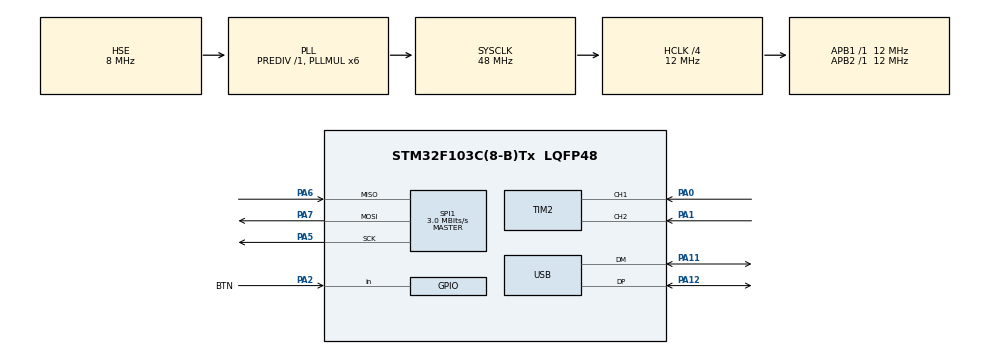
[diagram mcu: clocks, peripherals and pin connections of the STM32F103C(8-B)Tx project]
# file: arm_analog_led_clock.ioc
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Mcu.Family=STM32F1
Mcu.Name=STM32F103C(8-B)Tx
Mcu.Package=LQFP48
NVIC.PriorityGroup=NVIC_PRIORITYGROUP_4
NVIC.USB_LP_CAN1_RX0_IRQn=true\:0\:0\:false\:false\:true\:true\:true
PA0-WKUP.Signal=S_TIM2_CH1_ETR
PA1.Signal=S_TIM2_CH2
PA11.Mode=Device
PA11.Signal=USB_DM
PA12.Mode=Device
PA12.Signal=USB_DP
PA13.Mode=Serial_Wire
PA13.Signal=SYS_JTMS-SWDIO
PA14.Mode=Serial_Wire
PA14.Signal=SYS_JTCK-SWCLK
PA2.GPIO_Label=BTN
PA2.GPIO_PuPd=GPIO_PULLUP
PA2.Signal=GPIO_Input
PA5.Mode=Full_Duplex_Master
PA5.Signal=SPI1_SCK
PA6.Mode=Full_Duplex_Master
PA6.Signal=SPI1_MISO
PA7.Mode=Full_Duplex_Master
PA7.Signal=SPI1_MOSI
PC14-OSC32_IN.Mode=LSE-External-Oscillator
PC14-OSC32_IN.Signal=RCC_OSC32_IN
PC15-OSC32_OUT.Mode=LSE-External-Oscillator
PC15-OSC32_OUT.Signal=RCC_OSC32_OUT
PD0-OSC_IN.Mode=HSE-External-Oscillator
PD0-OSC_IN.Signal=RCC_OSC_IN
PD1-OSC_OUT.Mode=HSE-External-Oscillator
PD1-OSC_OUT.Signal=RCC_OSC_OUT
ProjectManager.HeapSize=0x200
ProjectManager.StackSize=0x400
ProjectManager.TargetToolchain=STM32CubeIDE
RCC.AHBCLKDivider=RCC_SYSCLK_DIV4
RCC.AHBFreq_Value=12000000
RCC.APB1Freq_Value=12000000
RCC.APB1TimFreq_Value=12000000
RCC.APB2Freq_Value=12000000
RCC.APB2TimFreq_Value=12000000
RCC.HCLKFreq_Value=12000000
RCC.PLLMUL=RCC_PLL_MUL6
RCC.PLLSourceVirtual=RCC_PLLSOURCE_HSE
RCC.SYSCLKFreq_VALUE=48000000
RCC.SYSCLKSource=RCC_SYSCLKSOURCE_PLLCLK
RCC.USBFreq_Value=48000000
RTC.Date=11
RTC.Hours=10
RTC.Minutes=20
RTC.Month=RTC_MONTH_NOVEMBER
RTC.Seconds=30
RTC.WeekDay=RTC_WEEKDAY_WEDNESDAY
SH.S_TIM2_CH1_ETR.0=TIM2_CH1,Encoder_Interface
SH.S_TIM2_CH2.0=TIM2_CH2,Encoder_Interface
SPI1.BaudRatePrescaler=SPI_BAUDRATEPRESCALER_4
SPI1.CalculateBaudRate=3.0 MBits/s
SPI1.DataSize=SPI_DATASIZE_8BIT
SPI1.Direction=SPI_DIRECTION_2LINES
SPI1.Mode=SPI_MODE_MASTER
SPI1.VirtualType=VM_MASTER
USB_DEVICE.CLASS_NAME_FS=CDC
USB_DEVICE.VirtualMode=Cdc
USB_DEVICE.VirtualModeFS=Cdc_FS
VP_RTC_VS_RTC_Activate.Mode=RTC_Enabled
VP_RTC_VS_RTC_Calendar.Mode=RTC_Calendar
VP_USB_DEVICE_VS_USB_DEVICE_CDC_FS.Mode=CDC_FS
board=custom

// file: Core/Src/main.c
/* USER CODE BEGIN Header */
/**
 ******************************************************************************
 * @file           : main.c
 * @brief          : Main program body
 ******************************************************************************
 * @attention
 *
 * <h2><center>&copy; Copyright (c) 2020 STMicroelectronics.
 * All rights reserved.</center></h2>
 *
 * This software component is licensed by ST under BSD 3-Clause license,
 * the "License"; You may not use this file except in compliance with the
 * License. You may obtain a copy of the License at:
 *                        opensource.org/licenses/BSD-3-Clause
 *
 ******************************************************************************
 */
/* USER CODE END Header */
#include "main.h"
#include "usb_device.h"

/* USER CODE BEGIN PD */
#define COLOR_SIZE 24
#define ALL_GRB_SIZE 288
#define RESET_SIZE 50

const uint8_t HOUR_COLOR[COLOR_SIZE] = {0x1,0x1,0x1,0x1,0x1,0x1,0xC,0xC, /*||*/ 0xC,0xC,0xC,0xC,0xC,0xC,0xC,0xC, /*||*/ 0x1,0x1,0x1,0x1,0xC,0xC,0xC,0xC};
const uint8_t MIN_COLOR[COLOR_SIZE] =  {0x1,0x1,0x1,0x1,0xC,0xC,0xC,0xC, /*||*/ 0x1,0x1,0x1,0x1,0xC,0xC,0xC,0xC, /*||*/ 0x1,0x1,0x1,0x1,0xC,0xC,0xC,0xC};
const uint8_t SEC_COLOR[COLOR_SIZE] =  {0x1,0x1,0x1,0x1,0x1,0x1,0xC,0xC, /*||*/ 0x1,0x1,0x1,0x1,0xC,0xC,0xC,0xC, /*||*/ 0xC,0xC,0x1,0x1,0x1,0x1,0xC,0xC};
/* USER CODE END PD */

RTC_HandleTypeDef hrtc;

SPI_HandleTypeDef hspi1;

TIM_HandleTypeDef htim2;

/* USER CODE BEGIN PV */
volatile uint32_t last_button = 0;
uint8_t time_set_mode = 3;
RTC_TimeTypeDef current_time;
uint8_t all_grb_leds[ALL_GRB_SIZE] = {0xC};
uint8_t reset[RESET_SIZE] = {0xC};
/* USER CODE END PV */

void SystemClock_Config(void);
static void MX_GPIO_Init(void);
static void MX_TIM2_Init(void);
static void MX_RTC_Init(void);
static void MX_SPI1_Init(void);

/* USER CODE BEGIN 0 */
void set_time() {
	RTC_TimeTypeDef sTime = {0};
	RTC_DateTypeDef DateToUpdate = {0};
	/** Initialize RTC and set the Time and Date
	*/
	sTime.Hours = 0x10;
	sTime.Minutes = 0x20;
	sTime.Seconds = 0x30;

	if (HAL_RTC_SetTime(&hrtc, &sTime, RTC_FORMAT_BCD) != HAL_OK)
	{
	Error_Handler();
	}
	DateToUpdate.WeekDay = RTC_WEEKDAY_WEDNESDAY;
	DateToUpdate.Month = RTC_MONTH_NOVEMBER;
	DateToUpdate.Date = 0x11;
	DateToUpdate.Year = 0x0;

	if (HAL_RTC_SetDate(&hrtc, &DateToUpdate, RTC_FORMAT_BCD) != HAL_OK)
	{
	Error_Handler();
	}
	/* USER CODE BEGIN RTC_Init 2 */
	HAL_RTCEx_BKUPWrite(&hrtc, RTC_BKP_DR1, 0x32F2); // saves time to backup register
	/* USER CODE END RTC_Init 2 */
}

void time_backup_check() {
	if (HAL_RTCEx_BKUPRead(&hrtc, RTC_BKP_DR1) != 0x32F2) {
	  set_time();
	}
}

uint8_t is_btn_pressed() { // for dealing with the bounce effect
	uint8_t returnValue = 0;
	uint8_t buttonState = HAL_GPIO_ReadPin(BTN_GPIO_Port, BTN_Pin);
	if (last_button == 0 && buttonState == 1) {
		returnValue = 1;
	}
	last_button = buttonState;
	return returnValue;

}

void onpress_change_time_set_mode() {
	if (is_btn_pressed()) {
		time_set_mode++;
		if (time_set_mode > 3) {
			time_set_mode = 0;
		}
		switch (time_set_mode) {
			case CLOCK_CHANGE_HOUR:
				TIM2->CNT = current_time.Hours << 2;
				break;
			case CLOCK_CHANGE_MIN:
				TIM2->CNT = current_time.Minutes << 2;
				break;
			case CLOCK_CHANGE_SEC:
				TIM2->CNT = current_time.Seconds << 2;
				break;
		}
	}
}

void handle_time_change() {
	RTC_TimeTypeDef new_time;
	switch (time_set_mode) {
		case CLOCK_CHANGE_HOUR:
			time_backup_check();
			HAL_RTC_GetTime(&hrtc, &new_time, RTC_FORMAT_BIN);
			new_time.Hours = ((TIM2->CNT)>>2) % 24;
			HAL_RTC_SetTime(&hrtc, &new_time, RTC_FORMAT_BIN);
			break;
		case CLOCK_CHANGE_MIN:
			time_backup_check();
			HAL_RTC_GetTime(&hrtc, &new_time, RTC_FORMAT_BIN);
			new_time.Minutes = ((TIM2->CNT)>>2) % 60;
			HAL_RTC_SetTime(&hrtc, &new_time, RTC_FORMAT_BIN);
			break;
		case CLOCK_CHANGE_SEC:
			time_backup_check();
			HAL_RTC_GetTime(&hrtc, &new_time, RTC_FORMAT_BIN);
			new_time.Seconds = ((TIM2->CNT)>>2) % 60;
			HAL_RTC_SetTime(&hrtc, &new_time, RTC_FORMAT_BIN);
			break;
	}
}

void set_grb_by_time() {
	uint8_t hour_led_index = current_time.Hours % 12;
	uint8_t min_led_index = (uint8_t) current_time.Minutes / 5;
	uint8_t sec_led_index = (uint8_t) current_time.Seconds / 5;

	for (int i = 0; i < ALL_GRB_SIZE; i++) { // reset leds by setting every bit to 1, black
		all_grb_leds[i] = 0x1;
	}
	for (int i = 0; i < COLOR_SIZE; i++) {
		all_grb_leds[hour_led_index * COLOR_SIZE + i] = HOUR_COLOR[i];
		all_grb_leds[min_led_index * COLOR_SIZE + i] = MIN_COLOR[i];
		all_grb_leds[sec_led_index * COLOR_SIZE + i] = SEC_COLOR[i];
	}
}

void handle_led_changes() {
	HAL_SPI_Transmit(&hspi1, all_grb_leds, sizeof(all_grb_leds), 10);
	HAL_SPI_Transmit(&hspi1, reset, sizeof(reset), 10);
}
/* USER CODE END 0 */

int main(void)
{
  /* USER CODE BEGIN 1 */
	char *outBufferUSB[512] = {0};
	uint16_t outBufferUSBSize = 0;
  /* USER CODE END 1 */

  /* MCU Configuration--------------------------------------------------------*/

  /* Reset of all peripherals, Initializes the Flash interface and the Systick. */
  HAL_Init();

  /* Configure the system clock */
  SystemClock_Config();

  /* Initialize all configured peripherals */
  MX_GPIO_Init();
  MX_USB_DEVICE_Init();
  MX_TIM2_Init();
  MX_RTC_Init();
  MX_SPI1_Init();
  /* USER CODE BEGIN 2 */
  time_backup_check(); // restores time from backup register
  HAL_TIM_Encoder_Start(&htim2, TIM_CHANNEL_ALL);
  /* USER CODE END 2 */

  /* Infinite loop */
  /* USER CODE BEGIN WHILE */
	while (1) {
	  HAL_RTC_GetTime(&hrtc, &current_time, RTC_FORMAT_BIN); // gets current time to display
	  onpress_change_time_set_mode(); // checks for button press and increments change_time_mod variable
	  handle_time_change(); // handles time change with the encoder
	  set_grb_by_time(); // sets grb array by the current time
	  handle_led_changes(); // supposed to change one leds color for now

	  outBufferUSBSize = sprintf(outBufferUSB, "time_set_mode: %d, encoder_value: %d, time: %02d:%02d:%02d% \n\r",
	  			  time_set_mode, ((TIM2->CNT)>>2), current_time.Hours, current_time.Minutes, current_time.Seconds);
	  CDC_Transmit_FS(outBufferUSB, outBufferUSBSize);
    /* USER CODE END WHILE */

	}
}

void SystemClock_Config(void)
{
  RCC_OscInitTypeDef RCC_OscInitStruct = {0};
  RCC_ClkInitTypeDef RCC_ClkInitStruct = {0};
  RCC_PeriphCLKInitTypeDef PeriphClkInit = {0};

  /** Initializes the RCC Oscillators according to the specified parameters
  * in the RCC_OscInitTypeDef structure.
  */
  RCC_OscInitStruct.OscillatorType = RCC_OSCILLATORTYPE_LSI|RCC_OSCILLATORTYPE_HSE;
  RCC_OscInitStruct.HSEState = RCC_HSE_ON;
  RCC_OscInitStruct.HSEPredivValue = RCC_HSE_PREDIV_DIV1;
  RCC_OscInitStruct.HSIState = RCC_HSI_ON;
  RCC_OscInitStruct.LSIState = RCC_LSI_ON;
  RCC_OscInitStruct.PLL.PLLState = RCC_PLL_ON;
  RCC_OscInitStruct.PLL.PLLSource = RCC_PLLSOURCE_HSE;
  RCC_OscInitStruct.PLL.PLLMUL = RCC_PLL_MUL6;
  if (HAL_RCC_OscConfig(&RCC_OscInitStruct) != HAL_OK)
  {
    Error_Handler();
  }
  /** Initializes the CPU, AHB and APB buses clocks
  */
  RCC_ClkInitStruct.ClockType = RCC_CLOCKTYPE_HCLK|RCC_CLOCKTYPE_SYSCLK
                              |RCC_CLOCKTYPE_PCLK1|RCC_CLOCKTYPE_PCLK2;
  RCC_ClkInitStruct.SYSCLKSource = RCC_SYSCLKSOURCE_PLLCLK;
  RCC_ClkInitStruct.AHBCLKDivider = RCC_SYSCLK_DIV4;
  RCC_ClkInitStruct.APB1CLKDivider = RCC_HCLK_DIV1;
  RCC_ClkInitStruct.APB2CLKDivider = RCC_HCLK_DIV1;

  if (HAL_RCC_ClockConfig(&RCC_ClkInitStruct, FLASH_LATENCY_1) != HAL_OK)
  {
    Error_Handler();
  }
  PeriphClkInit.PeriphClockSelection = RCC_PERIPHCLK_RTC|RCC_PERIPHCLK_USB;
  PeriphClkInit.RTCClockSelection = RCC_RTCCLKSOURCE_LSI;
  PeriphClkInit.UsbClockSelection = RCC_USBCLKSOURCE_PLL;
  if (HAL_RCCEx_PeriphCLKConfig(&PeriphClkInit) != HAL_OK)
  {
    Error_Handler();
  }
}

static void MX_RTC_Init(void)
{

  RTC_TimeTypeDef sTime = {0};
  RTC_DateTypeDef DateToUpdate = {0};

  /** Initialize RTC Only
  */
  hrtc.Instance = RTC;
  hrtc.Init.AsynchPrediv = RTC_AUTO_1_SECOND;
  hrtc.Init.OutPut = RTC_OUTPUTSOURCE_ALARM;
  if (HAL_RTC_Init(&hrtc) != HAL_OK)
  {
    Error_Handler();
  }

  /** Initialize RTC and set the Time and Date
  */
  sTime.Hours = 0x10;
  sTime.Minutes = 0x20;
  sTime.Seconds = 0x30;

  if (HAL_RTC_SetTime(&hrtc, &sTime, RTC_FORMAT_BCD) != HAL_OK)
  {
    Error_Handler();
  }
  DateToUpdate.WeekDay = RTC_WEEKDAY_WEDNESDAY;
  DateToUpdate.Month = RTC_MONTH_NOVEMBER;
  DateToUpdate.Date = 0x11;
  DateToUpdate.Year = 0x0;

  if (HAL_RTC_SetDate(&hrtc, &DateToUpdate, RTC_FORMAT_BCD) != HAL_OK)
  {
    Error_Handler();
  }
  /* USER CODE BEGIN RTC_Init 2 */
	HAL_RTCEx_BKUPWrite(&hrtc, RTC_BKP_DR1, 0x32F2); // saves time to backup register
  /* USER CODE END RTC_Init 2 */

}

static void MX_SPI1_Init(void)
{

  /* SPI1 parameter configuration*/
  hspi1.Instance = SPI1;
  hspi1.Init.Mode = SPI_MODE_MASTER;
  hspi1.Init.Direction = SPI_DIRECTION_2LINES;
  hspi1.Init.DataSize = SPI_DATASIZE_8BIT;
  hspi1.Init.CLKPolarity = SPI_POLARITY_LOW;
  hspi1.Init.CLKPhase = SPI_PHASE_1EDGE;
  hspi1.Init.NSS = SPI_NSS_SOFT;
  hspi1.Init.BaudRatePrescaler = SPI_BAUDRATEPRESCALER_4;
  hspi1.Init.FirstBit = SPI_FIRSTBIT_MSB;
  hspi1.Init.TIMode = SPI_TIMODE_DISABLE;
  hspi1.Init.CRCCalculation = SPI_CRCCALCULATION_DISABLE;
  hspi1.Init.CRCPolynomial = 10;
  if (HAL_SPI_Init(&hspi1) != HAL_OK)
  {
    Error_Handler();
  }

}

static void MX_TIM2_Init(void)
{

  TIM_Encoder_InitTypeDef sConfig = {0};
  TIM_MasterConfigTypeDef sMasterConfig = {0};

  htim2.Instance = TIM2;
  htim2.Init.Prescaler = 0;
  htim2.Init.CounterMode = TIM_COUNTERMODE_UP;
  htim2.Init.Period = 65535;
  htim2.Init.ClockDivision = TIM_CLOCKDIVISION_DIV1;
  htim2.Init.AutoReloadPreload = TIM_AUTORELOAD_PRELOAD_DISABLE;
  sConfig.EncoderMode = TIM_ENCODERMODE_TI1;
  sConfig.IC1Polarity = TIM_ICPOLARITY_RISING;
  sConfig.IC1Selection = TIM_ICSELECTION_DIRECTTI;
  sConfig.IC1Prescaler = TIM_ICPSC_DIV1;
  sConfig.IC1Filter = 0;
  sConfig.IC2Polarity = TIM_ICPOLARITY_RISING;
  sConfig.IC2Selection = TIM_ICSELECTION_DIRECTTI;
  sConfig.IC2Prescaler = TIM_ICPSC_DIV1;
  sConfig.IC2Filter = 0;
  if (HAL_TIM_Encoder_Init(&htim2, &sConfig) != HAL_OK)
  {
    Error_Handler();
  }
  sMasterConfig.MasterOutputTrigger = TIM_TRGO_RESET;
  sMasterConfig.MasterSlaveMode = TIM_MASTERSLAVEMODE_DISABLE;
  if (HAL_TIMEx_MasterConfigSynchronization(&htim2, &sMasterConfig) != HAL_OK)
  {
    Error_Handler();
  }

}

static void MX_GPIO_Init(void)
{
  GPIO_InitTypeDef GPIO_InitStruct = {0};

  /* GPIO Ports Clock Enable */
  __HAL_RCC_GPIOC_CLK_ENABLE();
  __HAL_RCC_GPIOD_CLK_ENABLE();
  __HAL_RCC_GPIOA_CLK_ENABLE();

  /*Configure GPIO pin : BTN_Pin */
  GPIO_InitStruct.Pin = BTN_Pin;
  GPIO_InitStruct.Mode = GPIO_MODE_INPUT;
  GPIO_InitStruct.Pull = GPIO_PULLUP;
  HAL_GPIO_Init(BTN_GPIO_Port, &GPIO_InitStruct);

}

void Error_Handler(void)
{
}

/************************ (C) COPYRIGHT STMicroelectronics *****END OF FILE****/
